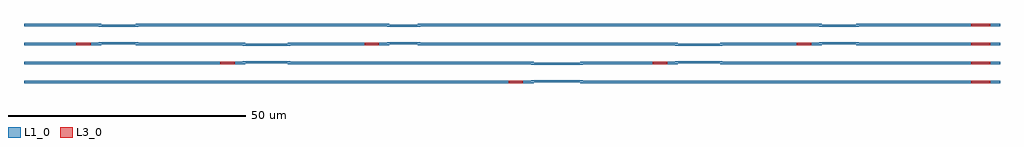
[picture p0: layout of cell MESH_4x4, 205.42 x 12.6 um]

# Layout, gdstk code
import gdstk
lib = gdstk.Library(unit=1e-6, precision=1e-09)
def R(c, l, rs):  # rectangles x0, y0, x1, y1
    for r in rs: c.add(gdstk.rectangle(r[:2], r[2:], *l))
def A(c, l, x, y, w, h, nx, ny, dx, dy):  # array of equal rectangles
    R(c, l, [(x+i*dx, y+j*dy, x+i*dx+w, y+j*dy+h) for i in range(nx) for j in range(ny)])
L1_0 = (1, 0)
L3_0 = (3, 0)

mesh_4x4 = lib.new_cell('MESH_4x4')
A(mesh_4x4, L3_0, 199.417, -0.3, 4, 0.6, 1, 4, 0, 4)
R(mesh_4x4, L3_0, [(102,-0.3,105,0.3), (41.333,3.7,44.333,4.3), (132.333,3.7,135.333,4.3), (11,7.7,14,8.3), (71.667,7.7,74.667,8.3), (162.667,7.7,165.667,8.3)])
mesh_4x4.add(gdstk.FlexPath([(0,0),(107,0),(107,0.15),(117.333,0.15),(117.333,0),(123.333,0),(205.417,0)], 0.5, ends="flush", simple_path=True, layer=1, datatype=0))  # L1_0
mesh_4x4.add(gdstk.FlexPath([(0,4),(46.333,4),(46.333,4.15),(55.76,4.15),(55.76,4),(61.76,4),(107,4),(107,3.85),(117.333,3.85),(117.333,4),(123.333,4),(137.333,4),(137.333,4.15),(146.76,4.15),(146.76,4),(152.76,4),(205.417,4)], 0.5, ends="flush", simple_path=True, layer=1, datatype=0))  # L1_0
mesh_4x4.add(gdstk.FlexPath([(0,8),(16,8),(16,8.15),(23.75,8.15),(23.75,8),(29.75,8),(46.333,8),(46.333,7.85),(55.76,7.85),(55.76,8),(61.76,8),(76.667,8),(76.667,8.15),(83.17,8.15),(83.17,8),(89.17,8),(137.333,8),(137.333,7.85),(146.76,7.85),(146.76,8),(152.76,8),(167.667,8),(167.667,8.15),(175.417,8.15),(175.417,8),(181.417,8),(205.417,8)], 0.5, ends="flush", simple_path=True, layer=1, datatype=0))  # L1_0
mesh_4x4.add(gdstk.FlexPath([(0,12),(16,12),(16,11.85),(23.75,11.85),(23.75,12),(29.75,12),(76.667,12),(76.667,11.85),(83.17,11.85),(83.17,12),(89.17,12),(167.667,12),(167.667,11.85),(175.417,11.85),(175.417,12),(181.417,12),(205.417,12)], 0.5, ends="flush", simple_path=True, layer=1, datatype=0))  # L1_0

lib.write_gds('MESH_4x4.gds')
